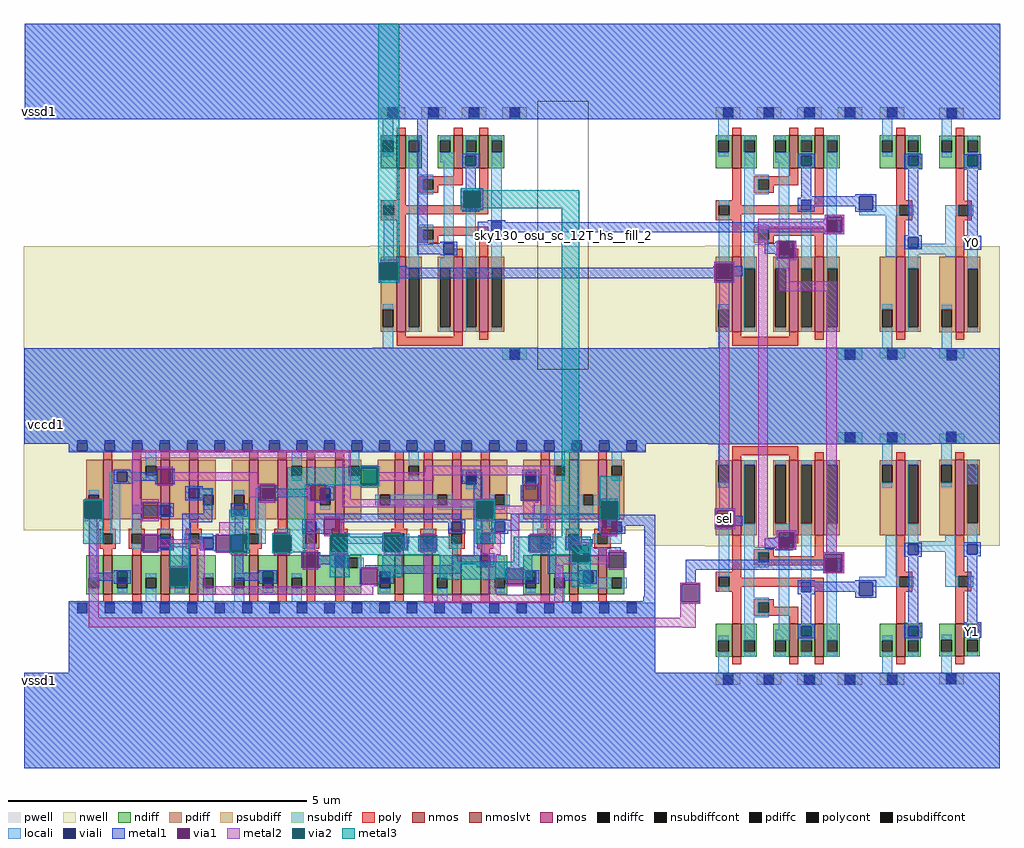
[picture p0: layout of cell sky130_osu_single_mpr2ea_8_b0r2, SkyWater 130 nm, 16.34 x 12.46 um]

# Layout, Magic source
magic
tech sky130A
magscale 1 2
<< nwell >>
rect 0 1086 3267 1748
rect 0 921 112 1086
rect 0 819 177 921
rect 0 797 127 819
rect 2077 804 2291 1086
rect 3130 951 3221 1055
rect 3222 1043 3267 1086
rect 3223 1042 3267 1043
rect 3235 938 3267 1042
rect 3230 936 3267 938
rect 2078 744 2291 804
rect 3073 772 3103 807
rect 3222 744 3267 936
<< ndiff >>
rect 3159 442 3193 476
<< locali >>
rect 2 2172 3268 2492
rect 2842 1869 2896 1885
rect 2796 1851 2896 1869
rect 2969 1721 3103 1755
rect 2994 1689 2995 1721
rect 1 1086 3267 1406
rect 3157 951 3191 1020
rect 2982 725 3100 759
rect 2796 623 2923 641
rect 2842 607 2923 623
rect 1776 556 1780 573
rect 175 550 214 553
rect 635 550 674 553
rect 1002 550 1041 553
rect 1370 550 1409 553
rect 1740 550 1780 556
rect 2074 550 2113 553
rect 150 549 214 550
rect 216 549 2113 550
rect 150 320 2113 549
rect 1 0 3267 320
<< viali >>
rect 2796 1869 2842 1915
rect 3159 1742 3193 1776
rect 2796 577 2842 623
rect 3159 442 3193 476
<< metal1 >>
rect 2 2172 3268 2492
rect 1317 1755 1352 2172
rect 1463 1933 1537 1942
rect 1463 1877 1472 1933
rect 1528 1877 1537 1933
rect 2784 1915 2854 1921
rect 2636 1908 2796 1915
rect 2648 1902 2796 1908
rect 1463 1872 1537 1877
rect 2602 1881 2796 1902
rect 1463 1868 1514 1872
rect 2602 1868 2648 1881
rect 2784 1869 2796 1881
rect 2842 1869 2854 1915
rect 2784 1863 2854 1869
rect 2681 1846 2746 1853
rect 2681 1828 2688 1846
rect 1565 1794 2688 1828
rect 2740 1794 2746 1846
rect 2681 1788 2746 1794
rect 1317 1754 1386 1755
rect 1317 1734 1392 1754
rect 1317 1720 1405 1734
rect 2521 1708 2527 1766
rect 2579 1708 2585 1766
rect 1187 1635 1193 1693
rect 1251 1675 1257 1693
rect 2311 1689 2379 1695
rect 2311 1680 2317 1689
rect 2308 1675 2317 1680
rect 1251 1646 2317 1675
rect 1251 1641 2308 1646
rect 1251 1635 1257 1641
rect 2311 1631 2317 1646
rect 2375 1631 2379 1689
rect 2311 1625 2379 1631
rect 1 1086 3267 1406
rect 1936 848 1984 870
rect 2313 864 2381 870
rect 1936 811 2113 848
rect 1936 806 1984 811
rect 2076 576 2113 811
rect 2313 806 2319 864
rect 2377 806 2381 864
rect 2313 800 2381 806
rect 2521 790 2585 796
rect 2521 772 2527 790
rect 2515 738 2527 772
rect 2579 738 2585 790
rect 2521 732 2585 738
rect 2676 716 2746 722
rect 2676 698 2682 716
rect 2215 664 2682 698
rect 2215 621 2249 664
rect 2676 658 2682 664
rect 2740 658 2746 716
rect 2676 652 2746 658
rect 2784 624 2854 629
rect 2602 623 2636 624
rect 2648 623 2854 624
rect 2075 572 2113 576
rect 175 550 214 559
rect 635 550 674 559
rect 1002 550 1041 559
rect 1370 550 1409 553
rect 2074 550 2113 572
rect 2197 615 2265 621
rect 2197 557 2203 615
rect 2261 557 2265 615
rect 2602 590 2796 623
rect 2784 577 2796 590
rect 2842 577 2854 623
rect 2784 571 2854 577
rect 2197 551 2265 557
rect 150 549 214 550
rect 216 549 2113 550
rect 150 320 2113 549
rect 1 0 3267 320
<< via1 >>
rect 1472 1877 1528 1933
rect 2688 1794 2740 1846
rect 2527 1708 2579 1766
rect 1193 1635 1251 1693
rect 2317 1631 2375 1689
rect 2319 806 2377 864
rect 2527 738 2579 790
rect 2682 658 2740 716
rect 2203 557 2261 615
<< metal2 >>
rect 1463 1933 1537 1942
rect 1463 1877 1472 1933
rect 1528 1877 1537 1933
rect 1463 1868 1537 1877
rect 2681 1846 2746 1853
rect 2681 1840 2688 1846
rect 2458 1806 2688 1840
rect 1193 1693 1251 1702
rect 1193 1626 1251 1635
rect 2311 1689 2379 1695
rect 2311 1631 2317 1689
rect 2375 1631 2379 1689
rect 2311 1625 2379 1631
rect 216 503 250 902
rect 2328 870 2362 1625
rect 2313 864 2381 870
rect 2313 806 2319 864
rect 2377 806 2381 864
rect 2313 800 2381 806
rect 2458 772 2490 1806
rect 2681 1794 2688 1806
rect 2740 1794 2746 1846
rect 2681 1788 2746 1794
rect 2521 1708 2527 1766
rect 2579 1708 2585 1766
rect 2521 1701 2585 1708
rect 2527 1666 2561 1701
rect 2527 1631 2562 1666
rect 2527 1596 2722 1631
rect 2521 790 2585 796
rect 2521 772 2527 790
rect 2458 738 2527 772
rect 2579 738 2585 790
rect 2521 732 2585 738
rect 2687 722 2722 1596
rect 2676 716 2746 722
rect 2676 658 2682 716
rect 2740 658 2746 716
rect 500 637 534 657
rect 2676 652 2746 658
rect 2215 621 2249 622
rect 2197 615 2265 621
rect 2197 557 2203 615
rect 2261 557 2265 615
rect 2197 551 2265 557
rect 2197 503 2249 551
rect 216 471 2249 503
rect 2204 470 2249 471
<< via2 >>
rect 1472 1877 1528 1933
rect 1193 1635 1251 1693
<< metal3 >>
rect 1186 1693 1256 2492
rect 1463 1935 1537 1942
rect 1463 1933 1860 1935
rect 1463 1877 1472 1933
rect 1528 1877 1860 1933
rect 1463 1875 1860 1877
rect 1463 1868 1537 1875
rect 1187 1635 1193 1693
rect 1251 1635 1257 1693
rect 1187 1626 1257 1635
rect 1800 775 1860 1875
rect 1032 715 1452 775
rect 1392 691 1452 715
rect 1640 719 1898 775
rect 1640 715 1860 719
rect 1640 691 1701 715
rect 1392 631 1701 691
use scs130hd_mpr2ea_8  scs130hd_mpr2ea_8_0
transform 1 0 150 0 1 537
box -38 -48 1970 592
use sky130_osu_sc_12T_hs__fill_2  sky130_osu_sc_12T_hs__fill_2_0
transform 1 0 1728 0 -1 2233
box -7 0 161 897
use sky130_osu_sc_12T_hs__fill_8  sky130_osu_sc_12T_hs__fill_8_0
transform 1 0 1899 0 -1 2233
box -9 0 179 897
use sky130_osu_sc_12T_hs__inv_1  sky130_osu_sc_12T_hs__inv_1_1
transform 1 0 2840 0 1 259
box -10 0 199 902
use sky130_osu_sc_12T_hs__inv_1  sky130_osu_sc_12T_hs__inv_1_2
transform 1 0 3038 0 1 260
box -10 0 199 902
use sky130_osu_sc_12T_hs__inv_1  sky130_osu_sc_12T_hs__inv_1_3
transform 1 0 3039 0 -1 2232
box -10 0 199 902
use sky130_osu_sc_12T_hs__inv_1  sky130_osu_sc_12T_hs__inv_1_4
transform 1 0 2840 0 -1 2233
box -10 0 199 902
use sky130_osu_sc_12T_hs__mux2_1  sky130_osu_sc_12T_hs__mux2_1_0
transform 1 0 2291 0 1 259
box -10 0 552 902
use sky130_osu_sc_12T_hs__mux2_1  sky130_osu_sc_12T_hs__mux2_1_1
transform 1 0 1168 0 -1 2233
box -10 0 552 902
use sky130_osu_sc_12T_hs__mux2_1  sky130_osu_sc_12T_hs__mux2_1_2
transform 1 0 2291 0 -1 2233
box -10 0 552 902
<< labels >>
rlabel metal1 76 1151 76 1151 1 vccd1
port 6 n
rlabel metal1 53 293 53 293 1 vssd1
port 5 n
rlabel metal2 2347 837 2347 837 1 sel
port 7 n
rlabel metal1 53 2200 53 2200 1 vssd1
port 5 n
rlabel metal1 1565 1794 1594 1828 1 in
port 8 n
rlabel viali 3159 442 3193 476 1 Y1
port 10 n
rlabel viali 3159 1742 3193 1776 1 Y0
port 9 n
<< end >>

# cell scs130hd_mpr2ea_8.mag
magic
tech sky130A
magscale 1 2
<< nwell >>
rect -38 260 1970 582
<< pwell >>
rect 32 -12 66 16
rect 28 -16 66 -12
rect 520 -16 554 16
rect 1008 -16 1042 16
rect 1496 -12 1530 16
rect 1496 -16 1534 -12
rect 28 -18 62 -16
rect 1500 -18 1534 -16
<< nmos >>
rect 116 46 146 176
rect 212 46 242 176
rect 308 46 338 176
rect 404 46 434 176
rect 604 46 634 176
rect 700 46 730 176
rect 796 46 826 176
rect 892 46 922 176
rect 1092 46 1122 176
rect 1188 46 1218 176
rect 1284 46 1314 176
rect 1380 46 1410 176
rect 1580 46 1610 176
rect 1676 46 1706 176
rect 1772 46 1802 176
<< pmos >>
rect 116 296 146 496
rect 212 296 242 496
rect 308 296 338 496
rect 404 296 434 496
rect 604 296 634 496
rect 700 296 730 496
rect 796 296 826 496
rect 892 296 922 496
rect 1092 296 1122 496
rect 1188 296 1218 496
rect 1284 296 1314 496
rect 1380 296 1410 496
rect 1580 296 1610 496
rect 1676 296 1706 496
rect 1772 296 1802 496
<< ndiff >>
rect 58 100 116 176
rect 58 66 66 100
rect 100 66 116 100
rect 58 46 116 66
rect 146 100 212 176
rect 146 66 162 100
rect 196 66 212 100
rect 146 46 212 66
rect 242 100 308 176
rect 242 66 258 100
rect 292 66 308 100
rect 242 46 308 66
rect 338 100 404 176
rect 338 66 354 100
rect 388 66 404 100
rect 338 46 404 66
rect 434 100 492 176
rect 434 66 450 100
rect 484 66 492 100
rect 434 46 492 66
rect 546 100 604 176
rect 546 66 554 100
rect 588 66 604 100
rect 546 46 604 66
rect 634 100 700 176
rect 634 66 650 100
rect 684 66 700 100
rect 634 46 700 66
rect 730 100 796 176
rect 730 66 746 100
rect 780 66 796 100
rect 730 46 796 66
rect 826 46 892 176
rect 922 168 980 176
rect 922 134 934 168
rect 968 134 980 168
rect 922 46 980 134
rect 1034 100 1092 176
rect 1034 66 1042 100
rect 1076 66 1092 100
rect 1034 46 1092 66
rect 1122 46 1188 176
rect 1218 100 1284 176
rect 1218 66 1234 100
rect 1268 66 1284 100
rect 1218 46 1284 66
rect 1314 46 1380 176
rect 1410 100 1468 176
rect 1410 66 1426 100
rect 1460 66 1468 100
rect 1410 46 1468 66
rect 1522 100 1580 176
rect 1522 66 1530 100
rect 1564 66 1580 100
rect 1522 46 1580 66
rect 1610 100 1676 176
rect 1610 66 1626 100
rect 1660 66 1676 100
rect 1610 46 1676 66
rect 1706 46 1772 176
rect 1802 100 1860 176
rect 1802 66 1818 100
rect 1852 66 1860 100
rect 1802 46 1860 66
<< pdiff >>
rect 58 378 116 496
rect 58 344 66 378
rect 100 344 116 378
rect 58 296 116 344
rect 146 296 212 496
rect 242 476 308 496
rect 242 442 258 476
rect 292 442 308 476
rect 242 296 308 442
rect 338 296 404 496
rect 434 378 492 496
rect 434 344 450 378
rect 484 344 492 378
rect 434 296 492 344
rect 546 378 604 496
rect 546 344 554 378
rect 588 344 604 378
rect 546 296 604 344
rect 634 296 700 496
rect 730 476 796 496
rect 730 442 746 476
rect 780 442 796 476
rect 730 296 796 442
rect 826 378 892 496
rect 826 344 842 378
rect 876 344 892 378
rect 826 296 892 344
rect 922 476 980 496
rect 922 442 938 476
rect 972 442 980 476
rect 922 296 980 442
rect 1034 378 1092 496
rect 1034 344 1042 378
rect 1076 344 1092 378
rect 1034 296 1092 344
rect 1122 476 1188 496
rect 1122 442 1138 476
rect 1172 442 1188 476
rect 1122 296 1188 442
rect 1218 378 1284 496
rect 1218 344 1234 378
rect 1268 344 1284 378
rect 1218 296 1284 344
rect 1314 446 1380 496
rect 1314 412 1330 446
rect 1364 412 1380 446
rect 1314 296 1380 412
rect 1410 378 1468 496
rect 1410 344 1426 378
rect 1460 344 1468 378
rect 1410 296 1468 344
rect 1522 446 1580 496
rect 1522 412 1530 446
rect 1564 412 1580 446
rect 1522 296 1580 412
rect 1610 476 1676 496
rect 1610 442 1626 476
rect 1660 442 1676 476
rect 1610 296 1676 442
rect 1706 378 1772 496
rect 1706 344 1722 378
rect 1756 344 1772 378
rect 1706 296 1772 344
rect 1802 476 1860 496
rect 1802 442 1818 476
rect 1852 442 1860 476
rect 1802 296 1860 442
<< ndiffc >>
rect 66 66 100 100
rect 162 66 196 100
rect 258 66 292 100
rect 354 66 388 100
rect 450 66 484 100
rect 554 66 588 100
rect 650 66 684 100
rect 746 66 780 100
rect 934 134 968 168
rect 1042 66 1076 100
rect 1234 66 1268 100
rect 1426 66 1460 100
rect 1530 66 1564 100
rect 1626 66 1660 100
rect 1818 66 1852 100
<< pdiffc >>
rect 66 344 100 378
rect 258 442 292 476
rect 450 344 484 378
rect 554 344 588 378
rect 746 442 780 476
rect 842 344 876 378
rect 938 442 972 476
rect 1042 344 1076 378
rect 1138 442 1172 476
rect 1234 344 1268 378
rect 1330 412 1364 446
rect 1426 344 1460 378
rect 1530 412 1564 446
rect 1626 442 1660 476
rect 1722 344 1756 378
rect 1818 442 1852 476
<< poly >>
rect 116 496 146 522
rect 212 496 242 522
rect 308 496 338 522
rect 404 496 434 522
rect 604 496 634 522
rect 700 496 730 522
rect 796 496 826 522
rect 892 496 922 522
rect 1092 496 1122 522
rect 1188 496 1218 522
rect 1284 496 1314 522
rect 1380 496 1410 522
rect 1580 496 1610 522
rect 1676 496 1706 522
rect 1772 496 1802 522
rect 116 264 146 296
rect 212 264 242 296
rect 308 264 338 296
rect 404 264 434 296
rect 604 264 634 296
rect 700 264 730 296
rect 796 264 826 296
rect 892 264 922 296
rect 1092 264 1122 296
rect 1188 264 1218 296
rect 1284 264 1314 296
rect 1380 264 1410 296
rect 1580 264 1610 296
rect 1676 264 1706 296
rect 1772 264 1802 296
rect 104 248 158 264
rect 104 214 114 248
rect 148 214 158 248
rect 104 198 158 214
rect 200 248 254 264
rect 200 214 210 248
rect 244 214 254 248
rect 200 198 254 214
rect 296 248 350 264
rect 296 214 306 248
rect 340 214 350 248
rect 296 198 350 214
rect 392 248 446 264
rect 392 214 402 248
rect 436 214 446 248
rect 392 198 446 214
rect 592 248 646 264
rect 592 214 602 248
rect 636 214 646 248
rect 592 198 646 214
rect 688 248 742 264
rect 688 214 698 248
rect 732 214 742 248
rect 688 198 742 214
rect 784 248 838 264
rect 784 214 794 248
rect 828 214 838 248
rect 784 198 838 214
rect 880 248 934 264
rect 880 214 890 248
rect 924 214 934 248
rect 880 198 934 214
rect 1080 248 1134 264
rect 1080 214 1090 248
rect 1124 214 1134 248
rect 1080 198 1134 214
rect 1176 248 1230 264
rect 1176 214 1186 248
rect 1220 214 1230 248
rect 1176 198 1230 214
rect 1272 248 1326 264
rect 1272 214 1282 248
rect 1316 214 1326 248
rect 1272 198 1326 214
rect 1368 248 1422 264
rect 1368 214 1378 248
rect 1412 214 1422 248
rect 1368 198 1422 214
rect 1568 248 1622 264
rect 1568 214 1578 248
rect 1612 214 1622 248
rect 1568 198 1622 214
rect 1664 248 1718 264
rect 1664 214 1674 248
rect 1708 214 1718 248
rect 1664 198 1718 214
rect 1760 248 1814 264
rect 1760 214 1770 248
rect 1804 214 1814 248
rect 1760 198 1814 214
rect 116 176 146 198
rect 212 176 242 198
rect 308 176 338 198
rect 404 176 434 198
rect 604 176 634 198
rect 700 176 730 198
rect 796 176 826 198
rect 892 176 922 198
rect 1092 176 1122 198
rect 1188 176 1218 198
rect 1284 176 1314 198
rect 1380 176 1410 198
rect 1580 176 1610 198
rect 1676 176 1706 198
rect 1772 176 1802 198
rect 116 20 146 46
rect 212 20 242 46
rect 308 20 338 46
rect 404 20 434 46
rect 604 20 634 46
rect 700 20 730 46
rect 796 20 826 46
rect 892 20 922 46
rect 1092 20 1122 46
rect 1188 20 1218 46
rect 1284 20 1314 46
rect 1380 20 1410 46
rect 1580 20 1610 46
rect 1676 20 1706 46
rect 1772 20 1802 46
<< polycont >>
rect 114 214 148 248
rect 210 214 244 248
rect 306 214 340 248
rect 402 214 436 248
rect 602 214 636 248
rect 698 214 732 248
rect 794 214 828 248
rect 890 214 924 248
rect 1090 214 1124 248
rect 1186 214 1220 248
rect 1282 214 1316 248
rect 1378 214 1412 248
rect 1578 214 1612 248
rect 1674 214 1708 248
rect 1770 214 1804 248
<< locali >>
rect 0 526 28 560
rect 62 526 120 560
rect 154 526 212 560
rect 246 526 304 560
rect 338 526 396 560
rect 430 526 488 560
rect 522 526 580 560
rect 614 526 672 560
rect 706 526 764 560
rect 798 526 856 560
rect 890 526 948 560
rect 982 526 1040 560
rect 1074 526 1132 560
rect 1166 526 1224 560
rect 1258 526 1316 560
rect 1350 526 1408 560
rect 1442 526 1500 560
rect 1534 526 1592 560
rect 1626 526 1684 560
rect 1718 526 1776 560
rect 1810 526 1868 560
rect 1902 526 1932 560
rect 258 476 292 526
rect 138 422 162 456
rect 258 426 292 442
rect 746 476 780 526
rect 746 426 780 442
rect 938 476 972 526
rect 938 426 972 442
rect 1138 476 1172 526
rect 1626 476 1660 526
rect 1138 426 1172 442
rect 1330 456 1364 462
rect 66 378 100 394
rect 138 248 172 422
rect 436 378 484 400
rect 436 366 450 378
rect 98 214 114 248
rect 148 214 172 248
rect 210 310 306 344
rect 450 328 484 344
rect 554 378 588 394
rect 626 366 650 400
rect 1330 396 1364 412
rect 1530 456 1564 462
rect 1626 426 1660 442
rect 1818 476 1852 526
rect 1818 426 1852 442
rect 1530 396 1564 412
rect 210 248 244 310
rect 210 198 244 214
rect 306 248 340 264
rect 626 248 660 366
rect 1026 344 1042 378
rect 1076 344 1234 378
rect 1268 362 1284 378
rect 1410 362 1426 378
rect 1268 344 1426 362
rect 1460 344 1476 378
rect 1706 344 1722 378
rect 1756 344 1772 378
rect 842 328 876 344
rect 1234 328 1460 344
rect 1554 310 1756 344
rect 386 214 402 248
rect 436 232 484 248
rect 436 214 450 232
rect 586 214 602 248
rect 636 214 660 248
rect 698 248 732 264
rect 794 248 828 254
rect 1186 248 1220 264
rect 874 214 890 248
rect 924 214 1090 248
rect 1124 214 1140 248
rect 794 198 828 214
rect 1282 248 1316 254
rect 1426 248 1460 254
rect 1362 214 1378 248
rect 1412 214 1460 248
rect 1554 264 1588 310
rect 1554 248 1612 264
rect 1554 214 1578 248
rect 1282 198 1316 214
rect 1674 248 1708 264
rect 1818 248 1852 254
rect 1754 214 1770 248
rect 1804 214 1852 248
rect 924 142 934 168
rect 890 134 934 142
rect 968 134 988 168
rect 1412 142 1460 176
rect 66 100 100 116
rect 66 16 100 66
rect 162 50 196 66
rect 258 100 292 116
rect 258 16 292 66
rect 354 50 388 66
rect 450 100 484 116
rect 450 16 484 66
rect 554 100 588 116
rect 554 16 588 66
rect 650 50 684 66
rect 746 100 780 116
rect 746 16 780 66
rect 1042 50 1076 66
rect 1234 100 1268 116
rect 1234 16 1268 66
rect 1426 100 1460 142
rect 1426 50 1460 66
rect 1530 50 1564 66
rect 1626 100 1660 116
rect 1756 86 1818 100
rect 1722 66 1818 86
rect 1852 66 1868 100
rect 1626 16 1660 66
rect 0 -18 28 16
rect 62 -18 120 16
rect 154 -18 212 16
rect 246 -18 304 16
rect 338 -18 396 16
rect 430 -18 488 16
rect 522 -18 580 16
rect 614 -18 672 16
rect 706 -18 764 16
rect 798 -18 856 16
rect 890 -18 948 16
rect 982 -18 1040 16
rect 1074 -18 1132 16
rect 1166 -18 1224 16
rect 1258 -18 1316 16
rect 1350 -18 1408 16
rect 1442 -18 1500 16
rect 1534 -18 1592 16
rect 1626 -18 1684 16
rect 1718 -18 1776 16
rect 1810 -18 1868 16
rect 1902 -18 1932 16
<< viali >>
rect 28 526 62 560
rect 120 526 154 560
rect 212 526 246 560
rect 304 526 338 560
rect 396 526 430 560
rect 488 526 522 560
rect 580 526 614 560
rect 672 526 706 560
rect 764 526 798 560
rect 856 526 890 560
rect 948 526 982 560
rect 1040 526 1074 560
rect 1132 526 1166 560
rect 1224 526 1258 560
rect 1316 526 1350 560
rect 1408 526 1442 560
rect 1500 526 1534 560
rect 1592 526 1626 560
rect 1684 526 1718 560
rect 1776 526 1810 560
rect 1868 526 1902 560
rect 162 422 196 456
rect 1330 446 1364 456
rect 1330 422 1364 446
rect 66 310 100 344
rect 402 366 436 400
rect 306 310 340 344
rect 554 310 588 344
rect 650 366 684 400
rect 842 378 876 400
rect 1530 446 1564 456
rect 1530 422 1564 446
rect 842 366 876 378
rect 306 214 340 232
rect 306 198 340 214
rect 450 198 484 232
rect 698 214 732 232
rect 698 198 732 214
rect 794 254 828 288
rect 1090 214 1124 232
rect 1186 214 1220 232
rect 1090 198 1124 214
rect 1186 198 1220 214
rect 1282 254 1316 288
rect 1426 254 1460 288
rect 1578 214 1612 232
rect 1578 198 1612 214
rect 1818 254 1852 288
rect 1674 214 1708 232
rect 1674 198 1708 214
rect 890 142 924 176
rect 1378 142 1412 176
rect 162 100 196 120
rect 162 86 196 100
rect 354 100 388 120
rect 354 86 388 100
rect 650 100 684 120
rect 650 86 684 100
rect 1042 100 1076 120
rect 1042 86 1076 100
rect 1530 100 1564 120
rect 1530 86 1564 100
rect 1722 86 1756 120
rect 28 -18 62 16
rect 120 -18 154 16
rect 212 -18 246 16
rect 304 -18 338 16
rect 396 -18 430 16
rect 488 -18 522 16
rect 580 -18 614 16
rect 672 -18 706 16
rect 764 -18 798 16
rect 856 -18 890 16
rect 948 -18 982 16
rect 1040 -18 1074 16
rect 1132 -18 1166 16
rect 1224 -18 1258 16
rect 1316 -18 1350 16
rect 1408 -18 1442 16
rect 1500 -18 1534 16
rect 1592 -18 1626 16
rect 1684 -18 1718 16
rect 1776 -18 1810 16
rect 1868 -18 1902 16
<< metal1 >>
rect 0 560 1932 592
rect 0 526 28 560
rect 62 526 120 560
rect 154 526 212 560
rect 246 526 304 560
rect 338 526 396 560
rect 430 526 488 560
rect 522 526 580 560
rect 614 526 672 560
rect 706 526 764 560
rect 798 526 856 560
rect 890 526 948 560
rect 982 526 1040 560
rect 1074 526 1132 560
rect 1166 526 1224 560
rect 1258 526 1316 560
rect 1350 526 1408 560
rect 1442 526 1500 560
rect 1534 526 1592 560
rect 1626 526 1684 560
rect 1718 526 1776 560
rect 1810 526 1868 560
rect 1902 526 1932 560
rect 0 520 1932 526
rect 150 456 208 462
rect 150 422 162 456
rect 196 454 208 456
rect 290 454 296 466
rect 196 426 296 454
rect 196 422 216 426
rect 150 416 216 422
rect 290 414 296 426
rect 348 414 354 466
rect 1318 456 1376 462
rect 1318 422 1330 456
rect 1364 454 1376 456
rect 1518 456 1576 462
rect 1364 422 1384 454
rect 1318 416 1384 422
rect 390 400 448 406
rect 390 366 402 400
rect 436 398 448 400
rect 436 366 480 398
rect 390 360 480 366
rect 50 302 56 354
rect 108 302 114 354
rect 242 302 248 354
rect 300 350 306 354
rect 300 344 352 350
rect 300 310 306 344
rect 340 310 352 344
rect 452 314 480 360
rect 634 358 640 410
rect 692 398 698 410
rect 802 398 808 410
rect 860 406 866 410
rect 860 400 888 406
rect 692 370 808 398
rect 692 358 698 370
rect 802 358 808 370
rect 876 366 888 400
rect 860 360 888 366
rect 860 358 866 360
rect 300 304 352 310
rect 300 302 306 304
rect 68 118 96 302
rect 380 286 480 314
rect 542 344 600 350
rect 542 310 554 344
rect 588 310 600 344
rect 542 304 600 310
rect 242 190 248 242
rect 300 238 306 242
rect 300 232 352 238
rect 300 198 306 232
rect 340 198 352 232
rect 300 192 352 198
rect 300 190 306 192
rect 380 130 408 286
rect 556 242 584 304
rect 796 298 1312 314
rect 796 294 856 298
rect 782 288 856 294
rect 782 254 794 288
rect 828 254 856 288
rect 782 248 856 254
rect 850 246 856 248
rect 908 294 1312 298
rect 908 288 1328 294
rect 908 286 1282 288
rect 908 246 914 286
rect 1270 254 1282 286
rect 1316 254 1328 288
rect 1270 248 1328 254
rect 486 238 492 242
rect 438 232 492 238
rect 438 198 450 232
rect 484 198 492 232
rect 438 192 492 198
rect 486 190 492 192
rect 544 190 584 242
rect 682 190 688 242
rect 740 190 746 242
rect 1050 190 1056 242
rect 1108 238 1114 242
rect 1108 232 1136 238
rect 1124 198 1136 232
rect 1108 192 1136 198
rect 1108 190 1114 192
rect 1170 190 1176 242
rect 1228 190 1234 242
rect 150 120 208 126
rect 150 118 162 120
rect 68 90 162 118
rect 150 86 162 90
rect 196 86 208 120
rect 150 80 208 86
rect 338 78 344 130
rect 396 90 408 130
rect 556 118 584 190
rect 778 134 784 186
rect 836 174 842 186
rect 1356 182 1384 416
rect 1518 422 1530 456
rect 1564 422 1576 456
rect 1518 410 1576 422
rect 1514 358 1520 410
rect 1572 358 1578 410
rect 1480 298 1800 314
rect 1480 294 1784 298
rect 1414 288 1784 294
rect 1836 294 1842 298
rect 1836 288 1864 294
rect 1414 254 1426 288
rect 1460 286 1784 288
rect 1460 258 1508 286
rect 1772 258 1784 286
rect 1460 254 1472 258
rect 1414 248 1472 254
rect 1778 246 1784 258
rect 1852 254 1864 288
rect 1836 248 1864 254
rect 1836 246 1842 248
rect 1538 190 1544 242
rect 1596 238 1602 242
rect 1596 232 1632 238
rect 1612 198 1632 232
rect 1596 190 1632 198
rect 1662 232 1720 238
rect 1662 198 1674 232
rect 1708 230 1720 232
rect 1708 202 1752 230
rect 1708 198 1848 202
rect 1662 192 1848 198
rect 878 176 936 182
rect 878 174 890 176
rect 836 146 890 174
rect 836 134 842 146
rect 878 142 890 146
rect 924 142 936 176
rect 1356 176 1424 182
rect 1356 174 1378 176
rect 1284 146 1378 174
rect 1284 142 1312 146
rect 878 136 936 142
rect 992 130 1312 142
rect 1366 142 1378 146
rect 1412 142 1424 176
rect 1366 136 1424 142
rect 1604 142 1632 190
rect 1724 186 1848 192
rect 1724 174 1808 186
rect 638 120 696 126
rect 638 118 650 120
rect 556 90 650 118
rect 396 78 402 90
rect 638 86 650 90
rect 684 86 696 120
rect 638 80 696 86
rect 974 78 980 130
rect 1032 120 1312 130
rect 1032 86 1042 120
rect 1076 114 1312 120
rect 1076 86 1088 114
rect 1032 80 1088 86
rect 1032 78 1038 80
rect 1462 78 1468 130
rect 1520 126 1526 130
rect 1520 120 1576 126
rect 1520 86 1530 120
rect 1564 86 1576 120
rect 1604 118 1656 142
rect 1802 134 1808 174
rect 1860 134 1866 186
rect 1710 120 1768 126
rect 1710 118 1722 120
rect 1604 114 1722 118
rect 1628 90 1722 114
rect 1520 80 1576 86
rect 1710 86 1722 90
rect 1756 86 1768 120
rect 1710 80 1768 86
rect 1520 78 1526 80
rect 0 16 1932 22
rect 0 -18 28 16
rect 62 -18 120 16
rect 154 -18 212 16
rect 246 -18 304 16
rect 338 -18 396 16
rect 430 -18 488 16
rect 522 -18 580 16
rect 614 -18 672 16
rect 706 -18 764 16
rect 798 -18 856 16
rect 890 -18 948 16
rect 982 -18 1040 16
rect 1074 -18 1132 16
rect 1166 -18 1224 16
rect 1258 -18 1316 16
rect 1350 -18 1408 16
rect 1442 -18 1500 16
rect 1534 -18 1592 16
rect 1626 -18 1684 16
rect 1718 -18 1776 16
rect 1810 -18 1868 16
rect 1902 -18 1932 16
rect 0 -48 1932 -18
<< via1 >>
rect 296 414 348 466
rect 56 344 108 354
rect 56 310 66 344
rect 66 310 100 344
rect 100 310 108 344
rect 56 302 108 310
rect 248 302 300 354
rect 640 400 692 410
rect 640 366 650 400
rect 650 366 684 400
rect 684 366 692 400
rect 808 400 860 410
rect 640 358 692 366
rect 808 366 842 400
rect 842 366 860 400
rect 808 358 860 366
rect 248 190 300 242
rect 856 246 908 298
rect 492 190 544 242
rect 688 232 740 242
rect 688 198 698 232
rect 698 198 732 232
rect 732 198 740 232
rect 688 190 740 198
rect 1056 232 1108 242
rect 1056 198 1090 232
rect 1090 198 1108 232
rect 1056 190 1108 198
rect 1176 232 1228 242
rect 1176 198 1186 232
rect 1186 198 1220 232
rect 1220 198 1228 232
rect 1176 190 1228 198
rect 344 120 396 130
rect 344 86 354 120
rect 354 86 388 120
rect 388 86 396 120
rect 784 134 836 186
rect 1520 358 1572 410
rect 1784 288 1836 298
rect 1784 254 1818 288
rect 1818 254 1836 288
rect 1784 246 1836 254
rect 1544 232 1596 242
rect 1544 198 1578 232
rect 1578 198 1596 232
rect 1544 190 1596 198
rect 344 78 396 86
rect 980 78 1032 130
rect 1468 78 1520 130
rect 1808 134 1860 186
<< metal2 >>
rect 212 500 944 528
rect 54 356 110 365
rect 212 364 240 500
rect 296 466 348 472
rect 348 426 632 454
rect 296 408 348 414
rect 604 416 632 426
rect 604 410 692 416
rect 604 370 640 410
rect 212 354 302 364
rect 212 314 248 354
rect 54 290 110 300
rect 246 302 248 314
rect 300 302 302 354
rect 640 352 692 358
rect 796 410 860 416
rect 796 358 808 410
rect 796 352 860 358
rect 916 364 944 500
rect 978 468 1034 477
rect 1194 454 1630 476
rect 1034 444 1630 454
rect 1034 426 1222 444
rect 978 402 1034 412
rect 1520 410 1572 416
rect 1362 364 1422 365
rect 916 356 1422 364
rect 246 290 302 302
rect 504 253 584 286
rect 504 248 598 253
rect 248 242 300 248
rect 492 244 598 248
rect 492 242 542 244
rect 300 202 456 230
rect 248 184 300 190
rect 342 132 398 141
rect 342 66 398 76
rect 428 72 456 202
rect 492 188 542 190
rect 492 184 598 188
rect 542 178 598 184
rect 686 244 742 253
rect 796 192 824 352
rect 916 336 1366 356
rect 856 298 908 304
rect 1520 352 1572 358
rect 1520 342 1560 352
rect 1422 314 1560 342
rect 1366 290 1422 300
rect 908 253 920 286
rect 908 246 934 253
rect 856 244 934 246
rect 856 240 878 244
rect 686 178 742 188
rect 784 186 836 192
rect 878 178 934 188
rect 1054 244 1110 253
rect 1054 178 1110 188
rect 1176 242 1228 248
rect 1176 184 1228 190
rect 784 128 836 134
rect 980 130 1032 136
rect 980 72 1032 78
rect 428 44 1020 72
rect 1188 44 1216 184
rect 1390 178 1446 252
rect 1404 44 1432 178
rect 1480 136 1508 314
rect 1600 248 1630 444
rect 1782 356 1838 365
rect 1782 298 1838 300
rect 1782 290 1784 298
rect 1544 242 1630 248
rect 1596 220 1630 242
rect 1836 290 1838 298
rect 1784 240 1836 246
rect 1544 184 1596 190
rect 1686 210 1742 220
rect 1628 154 1686 174
rect 1808 186 1860 192
rect 1742 154 1808 174
rect 1628 146 1808 154
rect 1468 130 1520 136
rect 1468 72 1520 78
rect 1628 44 1656 146
rect 1808 128 1860 134
rect 1188 16 1656 44
<< via2 >>
rect 54 354 110 356
rect 54 302 56 354
rect 56 302 108 354
rect 108 302 110 354
rect 54 300 110 302
rect 978 412 1034 468
rect 542 242 598 244
rect 342 130 398 132
rect 342 78 344 130
rect 344 78 396 130
rect 396 78 398 130
rect 342 76 398 78
rect 542 190 544 242
rect 544 190 598 242
rect 542 188 598 190
rect 686 242 742 244
rect 686 190 688 242
rect 688 190 740 242
rect 740 190 742 242
rect 1366 300 1422 356
rect 686 188 742 190
rect 878 188 934 244
rect 1054 242 1110 244
rect 1054 190 1056 242
rect 1056 190 1108 242
rect 1108 190 1110 242
rect 1054 188 1110 190
rect 1782 300 1838 356
rect 1686 154 1742 210
<< metal3 >>
rect 973 470 1040 474
rect 732 468 1040 470
rect 732 412 978 468
rect 1034 412 1040 468
rect 732 410 1040 412
rect 49 356 116 361
rect 49 300 54 356
rect 110 300 116 356
rect 49 214 116 300
rect 538 249 604 328
rect 732 249 792 410
rect 973 406 1040 410
rect 1361 356 1428 361
rect 1778 360 1844 440
rect 1361 300 1366 356
rect 1422 300 1428 356
rect 1361 296 1428 300
rect 537 244 604 249
rect 338 135 404 216
rect 537 188 542 244
rect 598 188 604 244
rect 537 182 604 188
rect 681 244 792 249
rect 681 188 686 244
rect 742 188 792 244
rect 681 186 792 188
rect 873 244 940 249
rect 873 188 878 244
rect 934 188 940 244
rect 681 182 748 186
rect 873 183 940 188
rect 1049 244 1116 249
rect 1049 188 1054 244
rect 1110 188 1116 244
rect 1362 214 1428 296
rect 1777 356 1844 360
rect 1777 300 1782 356
rect 1838 300 1844 356
rect 1777 294 1844 300
rect 1049 185 1116 188
rect 337 132 404 135
rect 337 76 342 132
rect 398 76 404 132
rect 874 102 940 183
rect 1050 102 1116 185
rect 1681 210 1748 216
rect 1681 154 1686 210
rect 1742 154 1748 210
rect 1681 146 1748 154
rect 337 70 404 76
rect 1682 70 1748 146
<< labels >>
flabel nwell s 1496 526 1530 560 0 FreeSans 100 0 0 0 VPB
port 1 nsew
flabel nwell s 1008 526 1042 560 0 FreeSans 100 0 0 0 VPB
port 1 nsew
flabel nwell s 520 526 554 560 0 FreeSans 100 0 0 0 VPB
port 1 nsew
flabel nwell s 32 526 66 560 0 FreeSans 100 0 0 0 VPB
port 1 nsew
flabel pwell s 1496 -16 1530 16 0 FreeSans 100 0 0 0 VNB
port 2 nsew
flabel pwell s 1008 -16 1042 16 0 FreeSans 100 0 0 0 VNB
port 2 nsew
flabel pwell s 520 -16 554 16 0 FreeSans 100 0 0 0 VNB
port 2 nsew
flabel pwell s 32 -16 66 16 0 FreeSans 100 0 0 0 VNB
port 2 nsew
flabel comment s 0 0 0 0 0 FreeSans 100 0 0 0 scs130hd_mpr2ea_8
rlabel metal3 s 1778 294 1844 440 4 B0
port 3 nsew
rlabel metal3 s 874 102 940 248 4 A1
port 4 nsew
rlabel metal3 s 50 214 116 360 4 R2
port 5 nsew
rlabel metal3 s 1682 70 1748 216 4 A0
port 6 nsew
rlabel metal3 s 1362 214 1428 360 4 R0
port 7 nsew
rlabel metal3 s 538 182 604 328 4 R3
port 8 nsew
rlabel metal3 s 1050 102 1116 248 4 B1
port 9 nsew
rlabel metal3 s 338 70 404 216 4 R1
port 10 nsew
flabel metal1 s 30 526 64 560 0 FreeSans 100 0 0 0 vpwr
port 11 nsew
flabel metal1 s 30 -16 64 16 0 FreeSans 100 0 0 0 vgnd
port 12 nsew
<< properties >>
string FIXED_BBOX 0 0 1932 544
<< end >>

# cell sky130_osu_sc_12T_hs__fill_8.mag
magic
tech sky130A
magscale 1 2
<< nwell >>
rect -9 485 179 897
<< locali >>
rect 0 827 176 888
rect 0 0 176 61
<< metal1 >>
rect 0 827 176 888
rect 0 0 176 61
<< labels >>
rlabel metal1 111 859 111 859 1 vccd1
rlabel metal1 112 28 112 28 1 vssd1
<< end >>

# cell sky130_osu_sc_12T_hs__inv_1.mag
magic
tech sky130A
magscale 1 2
<< nwell >>
rect -10 484 199 902
<< pmos >>
rect 80 520 110 772
<< nmoslvt >>
rect 80 114 110 224
<< ndiff >>
rect 26 170 80 224
rect 26 130 34 170
rect 68 130 80 170
rect 26 114 80 130
rect 110 170 163 224
rect 110 130 121 170
rect 155 130 163 170
rect 110 114 163 130
<< pdiff >>
rect 26 756 80 772
rect 26 696 34 756
rect 68 696 80 756
rect 26 520 80 696
rect 110 756 163 772
rect 110 560 121 756
rect 155 560 163 756
rect 110 520 163 560
<< ndiffc >>
rect 34 130 68 170
rect 121 130 155 170
<< pdiffc >>
rect 34 696 68 756
rect 121 560 155 756
<< psubdiff >>
rect 26 26 50 60
rect 84 26 108 60
rect 26 20 108 26
<< nsubdiff >>
rect 26 826 50 860
rect 84 826 110 860
<< psubdiffcont >>
rect 50 26 84 60
<< nsubdiffcont >>
rect 50 826 84 860
<< poly >>
rect 80 772 110 798
rect 80 398 110 520
rect 80 382 134 398
rect 80 348 90 382
rect 124 348 134 382
rect 80 332 134 348
rect 80 224 110 332
rect 80 88 110 114
<< polycont >>
rect 90 348 124 382
<< locali >>
rect 0 866 198 888
rect 0 826 50 866
rect 84 826 198 866
rect 34 756 68 826
rect 34 680 68 696
rect 120 756 155 772
rect 120 560 121 756
rect 120 543 155 560
rect 46 382 80 520
rect 120 490 154 543
rect 46 348 90 382
rect 124 348 140 382
rect 34 170 68 186
rect 34 60 68 130
rect 121 170 155 182
rect 121 114 155 130
rect 0 20 50 60
rect 84 20 198 60
rect 0 0 198 20
<< viali >>
rect 50 860 84 866
rect 50 832 84 860
rect 120 456 154 490
rect 121 182 155 216
rect 50 26 84 54
rect 50 20 84 26
<< metal1 >>
rect 0 866 198 888
rect 0 832 50 866
rect 84 832 198 866
rect 0 826 198 832
rect 108 490 166 496
rect 108 456 120 490
rect 154 456 166 490
rect 108 449 166 456
rect 108 448 154 449
rect 120 228 154 448
rect 108 216 167 228
rect 108 182 121 216
rect 155 182 167 216
rect 108 176 167 182
rect 0 54 198 60
rect 0 20 50 54
rect 84 20 198 54
rect 0 0 198 20
<< labels >>
rlabel metal1 150 344 150 344 1 Y
port 1 n
rlabel viali 68 48 68 48 1 vssd1
port 4 n
rlabel viali 68 840 68 840 1 vccd1
port 3 n
rlabel locali 64 370 64 370 1 A
port 2 n
<< end >>

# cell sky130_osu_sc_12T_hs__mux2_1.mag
magic
tech sky130A
magscale 1 2
<< nwell >>
rect -10 484 552 902
<< pmos >>
rect 80 520 110 772
rect 271 520 301 772
rect 357 520 387 772
<< nmoslvt >>
rect 80 114 110 224
rect 271 114 301 224
rect 357 114 387 224
<< ndiff >>
rect 26 170 80 224
rect 26 130 34 170
rect 68 130 80 170
rect 26 114 80 130
rect 110 170 163 224
rect 110 130 121 170
rect 155 130 163 170
rect 110 114 163 130
rect 217 170 271 224
rect 217 130 225 170
rect 259 130 271 170
rect 217 114 271 130
rect 301 170 357 224
rect 301 130 312 170
rect 346 130 357 170
rect 301 114 357 130
rect 387 170 440 224
rect 387 130 398 170
rect 432 130 440 170
rect 387 114 440 130
<< pdiff >>
rect 26 756 80 772
rect 26 696 34 756
rect 68 696 80 756
rect 26 520 80 696
rect 110 756 163 772
rect 110 560 121 756
rect 155 560 163 756
rect 110 520 163 560
rect 217 756 271 772
rect 217 560 225 756
rect 259 560 271 756
rect 217 520 271 560
rect 301 756 357 772
rect 301 560 312 756
rect 346 560 357 756
rect 301 520 357 560
rect 387 756 440 772
rect 387 560 398 756
rect 432 560 440 756
rect 387 520 440 560
<< ndiffc >>
rect 34 130 68 170
rect 121 130 155 170
rect 225 130 259 170
rect 312 130 346 170
rect 398 130 432 170
<< pdiffc >>
rect 34 696 68 756
rect 121 560 155 756
rect 225 560 259 756
rect 312 560 346 756
rect 398 560 432 756
<< psubdiff >>
rect 26 26 50 60
rect 84 26 108 60
rect 26 20 108 26
rect 162 26 186 60
rect 220 26 244 60
rect 162 20 244 26
rect 298 26 322 60
rect 356 26 380 60
rect 298 20 380 26
rect 434 26 458 60
rect 492 26 516 60
rect 434 20 516 26
<< nsubdiff >>
rect 434 860 516 866
rect 434 826 458 860
rect 492 826 516 860
<< psubdiffcont >>
rect 50 26 84 60
rect 186 26 220 60
rect 322 26 356 60
rect 458 26 492 60
<< nsubdiffcont >>
rect 458 826 492 860
<< poly >>
rect 80 788 301 818
rect 80 772 110 788
rect 271 772 301 788
rect 357 772 387 798
rect 80 398 110 520
rect 271 494 301 520
rect 152 464 219 474
rect 152 430 168 464
rect 202 450 219 464
rect 357 450 387 520
rect 202 430 387 450
rect 152 420 387 430
rect 26 382 110 398
rect 26 348 36 382
rect 70 378 110 382
rect 70 348 387 378
rect 26 332 110 348
rect 80 224 110 332
rect 152 296 219 306
rect 152 262 168 296
rect 202 282 219 296
rect 202 262 301 282
rect 152 252 301 262
rect 271 224 301 252
rect 357 224 387 348
rect 80 88 110 114
rect 271 88 301 114
rect 357 88 387 114
<< polycont >>
rect 168 430 202 464
rect 36 348 70 382
rect 168 262 202 296
<< locali >>
rect 0 866 550 888
rect 0 826 458 866
rect 492 826 550 866
rect 34 756 68 826
rect 34 680 68 696
rect 120 756 155 772
rect 36 382 70 552
rect 36 332 70 348
rect 120 560 121 756
rect 120 520 155 560
rect 225 756 259 772
rect 311 756 346 772
rect 311 560 312 756
rect 225 526 271 560
rect 120 480 154 520
rect 237 510 271 526
rect 120 464 202 480
rect 120 430 168 464
rect 120 414 202 430
rect 120 312 154 414
rect 120 296 202 312
rect 120 262 168 296
rect 120 246 202 262
rect 120 212 154 246
rect 34 170 68 186
rect 34 60 68 130
rect 120 170 155 212
rect 237 204 271 476
rect 311 520 346 560
rect 397 756 432 772
rect 397 560 398 756
rect 397 544 432 560
rect 311 364 345 520
rect 397 438 431 544
rect 397 224 431 404
rect 120 130 121 170
rect 120 114 155 130
rect 225 170 271 204
rect 345 182 346 216
rect 311 170 346 182
rect 225 114 259 130
rect 311 130 312 170
rect 311 114 346 130
rect 397 170 432 224
rect 397 130 398 170
rect 397 114 432 130
rect 0 20 50 60
rect 84 20 186 60
rect 220 20 322 60
rect 356 20 458 60
rect 492 20 550 60
rect 0 0 550 20
<< viali >>
rect 458 860 492 866
rect 458 832 492 860
rect 36 552 70 586
rect 237 476 271 510
rect 311 330 345 364
rect 397 404 431 438
rect 311 182 345 216
rect 50 26 84 54
rect 50 20 84 26
rect 186 26 220 54
rect 186 20 220 26
rect 322 26 356 54
rect 322 20 356 26
rect 458 26 492 54
rect 458 20 492 26
<< metal1 >>
rect 0 866 550 888
rect 0 832 458 866
rect 492 832 550 866
rect 0 826 550 832
rect 24 586 82 592
rect 24 552 36 586
rect 70 552 116 586
rect 24 546 82 552
rect 225 510 283 516
rect 190 476 237 510
rect 271 476 283 510
rect 225 470 283 476
rect 385 438 443 444
rect 351 404 397 438
rect 431 404 443 438
rect 385 398 443 404
rect 299 364 357 370
rect 299 330 311 364
rect 345 330 357 364
rect 299 324 357 330
rect 311 222 345 324
rect 299 216 357 222
rect 299 182 311 216
rect 345 182 357 216
rect 299 176 357 182
rect 0 54 550 60
rect 0 20 50 54
rect 84 20 186 54
rect 220 20 322 54
rect 356 20 458 54
rect 492 20 550 54
rect 0 0 550 20
<< labels >>
rlabel viali 54 570 54 570 1 S0
port 1 n
rlabel viali 68 48 68 48 1 vssd1
port 6 n
rlabel viali 476 840 476 840 1 vccd1
port 5 n
rlabel viali 329 348 329 348 1 Y
port 2 n
rlabel viali 415 422 415 422 1 A1
port 4 n
rlabel viali 253 494 253 494 1 A0
port 3 n
<< end >>
